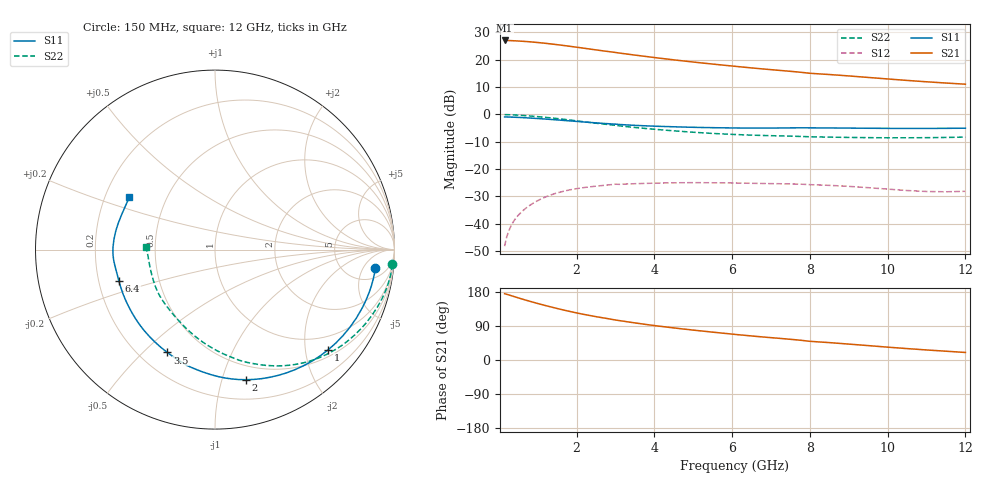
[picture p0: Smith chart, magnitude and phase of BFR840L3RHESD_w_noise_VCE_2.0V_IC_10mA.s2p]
! (c) 2012  Infineon Technologies AG, Munich
! Infineon Technologies  Discrete & RF Semiconductors
! BFR840L3RHESD
! VCE =  2.0 V,  IC =  10 mA
! Common Emitter S-Parameters:  Jun 2012
# GHz  S  MA  R  50
!  f  S11  S21  S12  S22
! GHz  MAG  ANG  MAG  ANG  MAG  ANG  MAG  ANG
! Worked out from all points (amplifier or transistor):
!   91 points, 150 MHz to 12 GHz, reference 50 ohm
!   highest |S21| = 27.1 dB at 150 MHz (marker M1)
!   |S21| within 3 dB of that: start of sweep to 2.273 GHz
!   unconditionally stable (mu >= 1): 8.422 GHz to end of sweep
!   at 1.3 GHz: K = 0.13, MSG = 27.8 dB, |S12| = -29.7 dB
!   at 4.3 GHz: K = 0.41, MSG = 22.7 dB, |S12| = -25.1 dB
!   at 12 GHz: K = 2.09, MAG = 13.6 dB, |S12| = -28.1 dB
!   lowest NFmin = 0.70 dB at 450 MHz
!   S11 on the Smith chart (normalised r, x): 150 MHz: 9, -9; 1 GHz: 0.65, -2.49; 2 GHz: 0.37, -1.20; 3.5 GHz: 0.31, -0.59; 6.4 GHz: 0.29, -0.15; 12 GHz: 0.30, +0.26
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0.15  0.8995 -6.6  22.52 175.0  0.0039 78.7  0.9911 -4.8
0.3  0.8943 -13.1  22.37 170.4  0.0087 79.3  0.9857 -10.0
0.5  0.8824 -21.6  22.01 164.0  0.0143 74.8  0.9696 -16.5
0.7  0.8676 -29.8  21.54 157.8  0.0194 69.8  0.9482 -22.7
1  0.842 -41.6  20.66 149.1  0.0265 63.0  0.9114 -31.6
1.2  0.8233 -49.1  19.97 143.7  0.0309 58.9  0.8845 -37.3
1.5  0.794 -59.9  18.86 136.0  0.0367 53.4  0.8408 -45.4
1.7  0.7744 -66.7  18.1 131.1  0.0399 49.9  0.8102 -50.5
2  0.7456 -76.5  16.96 124.3  0.0439 45.1  0.7635 -57.6
2.2  0.727 -82.5  16.21 120.1  0.0461 42.0  0.7331 -62.1
2.6  0.6921 -93.4  14.8 112.6  0.0496 36.3  0.678 -70.2
3  0.6644 -103.6  13.58 105.6  0.053 32.0  0.6319 -77.5
3.5  0.6315 -114.9  12.17 97.9  0.0541 27.0  0.5776 -86.3
3.8  0.6178 -121.1  11.44 93.6  0.0549 24.6  0.5514 -91.1
4.2  0.6035 -128.6  10.55 88.4  0.0557 21.9  0.5214 -97.2
5  0.5817 -142.3  9.086 78.9  0.0565 17.2  0.4727 -108.6
6.1  0.5654 -158.1  7.554 67.3  0.0557 12.0  0.4288 -123.2
6.4  0.5631 -161.9  7.203 64.4  0.0552 11.0  0.4208 -127.0
8  0.5683 178.4  5.657 49.3  0.052 6.1  0.3904 -148.3
8.5  0.5658 174.0  5.369 45.9  0.0505 5.0  0.3846 -152.8
10.5  0.5547 157.2  4.186 30.1  0.0406 7.6  0.3742 -171.8
12  0.5597 148.6  3.572 19.9  0.0393 20.3  0.3851 177.8
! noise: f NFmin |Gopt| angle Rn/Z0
0.45  0.7  0.31  6  0.16
0.9  0.73  0.31  11  0.15
1.9  0.76  0.33  30  0.15
3.5  0.77  0.32  51  0.14
4  0.79  0.32  60  0.13
5.5  0.82  0.33  74  0.13
7  0.88  0.32  93  0.12
8  0.94  0.3  105  0.11
10  1.04  0.29  125  0.1
12  1.18  0.26  161  0.09
